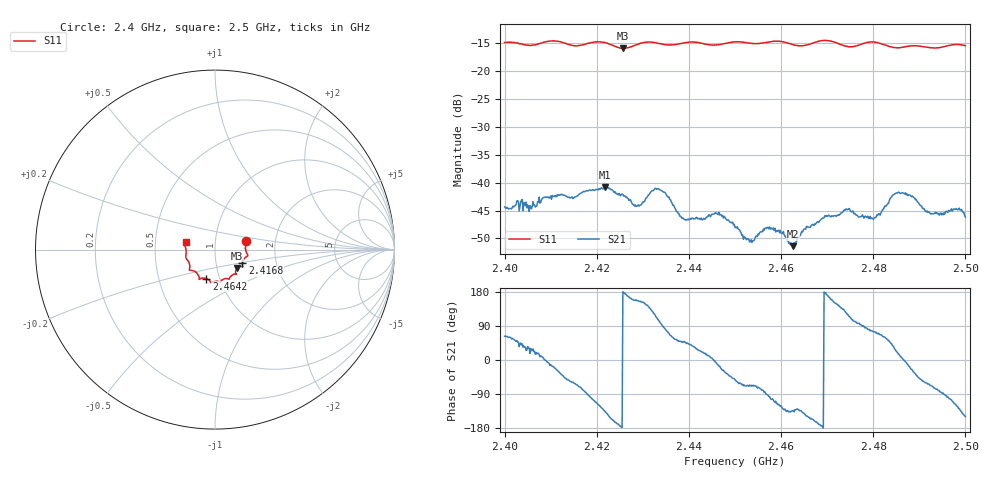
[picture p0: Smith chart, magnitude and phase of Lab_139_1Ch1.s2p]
# Hz S RI R 50
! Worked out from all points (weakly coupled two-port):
!   601 points, 2.4 GHz to 2.5 GHz, reference 50 ohm
!   highest |S21| = -40.80 dB at 2.4218 GHz (marker M1); lowest = -51.4 dB at 2.4627 GHz (marker M2)
!   lowest |S11| = -15.9 dB at 2.4257 GHz (marker M3), VSWR 1.38, Z = 62.4 - j13.1 ohm
!   |S11| at or under -10 dB: start of sweep to end of sweep
!   S12 and S22 are empty: the file has one direction only
!   S11 on the Smith chart (normalised r, x): 2.4 GHz: 1.41, +0.14; 2.4168 GHz: 1.34, -0.21; 2.4642 GHz: 0.86, -0.29; 2.5 GHz: 0.72, +0.06
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2.4e9  0.1738 0.0493  0.00278 0.00539  0 0  0 0
2.416667e9  0.1534 -0.0744  0.00209 -0.00783  0 0  0 0
2.416833e9  0.1532 -0.0764  0.00184 -0.00793  0 0  0 0
2.421833e9  0.1525 -0.0954  -0.00661 -0.00628  0 0  0 0
2.425667e9  0.1226 -0.1025  -0.00785 9.22e-06  0 0  0 0
2.429e9  0.1154 -0.1312  -0.00579 0.00255  0 0  0 0
2.433333e9  0.1132 -0.1364  -0.00243 0.0085  0 0  0 0
2.438833e9  0.0812 -0.1589  0.00317 0.00352  0 0  0 0
2.446e9  0.0474 -0.1646  0.00521 -0.000803  0 0  0 0
2.45e9  0.0294 -0.1806  0.00243 -0.00312  0 0  0 0
2.4535e9  0.0142 -0.1767  0.0011 -0.00287  0 0  0 0
2.457333e9  -0.015 -0.1817  -0.000436 -0.00383  0 0  0 0
2.462667e9  -0.0336 -0.1689  -0.00183 -0.00198  0 0  0 0
2.464167e9  -0.0479 -0.1616  -0.00233 -0.00244  0 0  0 0
2.466667e9  -0.0762 -0.1596  -0.00381 -0.00171  0 0  0 0
2.474333e9  -0.1 -0.1325  -0.0029 0.00491  0 0  0 0
2.48e9  -0.1427 -0.1136  0.00124 0.00452  0 0  0 0
2.483333e9  -0.1406 -0.0901  0.00416 0.00503  0 0  0 0
2.4865e9  -0.1526 -0.0597  0.00806 0.000251  0 0  0 0
2.492333e9  -0.1608 -0.0219  0.00208 -0.00489  0 0  0 0
2.498167e9  -0.1703 0.0323  -0.00304 -0.0049  0 0  0 0
2.5e9  -0.1635 0.0417  -0.00422 -0.00249  0 0  0 0
